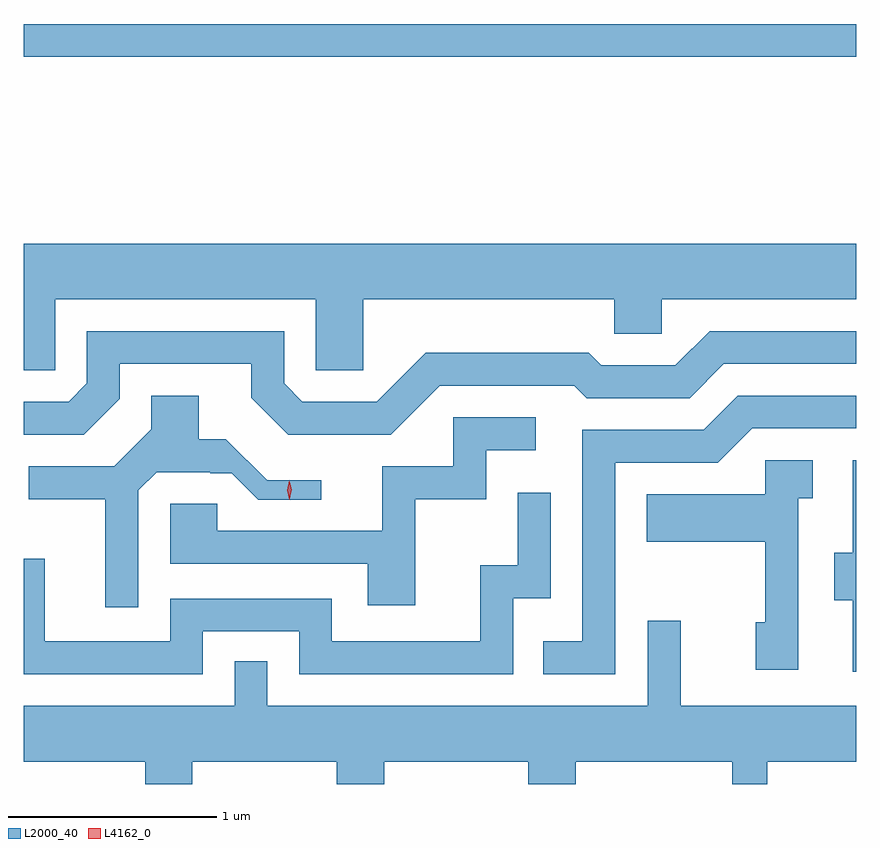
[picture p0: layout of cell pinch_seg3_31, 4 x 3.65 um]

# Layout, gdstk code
import gdstk
lib = gdstk.Library(unit=1e-6, precision=1e-09)
def R(c, l, rs):  # rectangles x0, y0, x1, y1
    for r in rs: c.add(gdstk.rectangle(r[:2], r[2:], *l))
def P(c, l, *ps):  # polygons
    for p in ps: c.add(gdstk.Polygon(p, *l))
L2000_40 = (2000, 40)
L4162_0 = (4162, 0)

pinch_seg3_31 = lib.new_cell('pinch_seg3_31')
R(pinch_seg3_31, L2000_40, [(1746.258,1124.961,1750.258,1125.119)])
P(pinch_seg3_31, L2000_40, [(1746.409,1123.796),(1747.661,1123.796),(1747.661,1123.456),(1747.889,1123.456),(1747.889,1123.796),(1749.096,1123.796),(1749.096,1123.631),(1749.324,1123.631),(1749.324,1123.796),(1750.258,1123.796),(1750.258,1124.064),(1746.258,1124.064),(1746.258,1123.456),(1746.409,1123.456)],
  [(1746.719,1123.319),(1746.719,1123.486),(1747.351,1123.486),(1747.351,1123.324),(1747.529,1123.146),(1748.022,1123.146),(1748.257,1123.381),(1748.904,1123.381),(1748.964,1123.321),(1749.457,1123.321),(1749.622,1123.486),(1750.258,1123.486),(1750.258,1123.644),(1749.554,1123.644),(1749.389,1123.479),(1749.032,1123.479),(1748.972,1123.539),(1748.189,1123.539),(1747.954,1123.304),(1747.597,1123.304),(1747.509,1123.392),(1747.509,1123.644),(1746.561,1123.644),(1746.561,1123.392),(1746.474,1123.304),(1746.258,1123.304),(1746.258,1123.146),(1746.547,1123.146)],
  [(1749.099,1123.011),(1749.592,1123.011),(1749.757,1123.176),(1750.258,1123.176),(1750.258,1123.334),(1749.689,1123.334),(1749.524,1123.169),(1748.941,1123.169),(1748.941,1122.154),(1748.753,1122.154),(1748.753,1121.996),(1749.099,1121.996)],
  [(1746.809,1122.879),(1746.897,1122.966),(1747.155,1122.966),(1747.155,1122.962),(1747.258,1122.962),(1747.386,1122.834),(1747.688,1122.834),(1747.688,1122.926),(1747.428,1122.926),(1747.229,1123.124),(1747.099,1123.124),(1747.099,1123.334),(1746.871,1123.334),(1746.871,1123.172),(1746.694,1122.994),(1746.283,1122.994),(1746.283,1122.836),(1746.651,1122.836),(1746.651,1122.318),(1746.809,1122.318)],
  [(1748.139,1122.836),(1748.479,1122.836),(1748.479,1123.071),(1748.718,1123.071),(1748.718,1123.229),(1748.321,1123.229),(1748.321,1122.994),(1747.981,1122.994),(1747.981,1122.684),(1747.189,1122.684),(1747.189,1122.814),(1746.961,1122.814),(1746.961,1122.526),(1747.911,1122.526),(1747.911,1122.326),(1748.139,1122.326)],
  [(1749.979,1122.841),(1750.049,1122.841),(1750.049,1123.024),(1749.821,1123.024),(1749.821,1122.859),(1749.251,1122.859),(1749.251,1122.631),(1749.821,1122.631),(1749.821,1122.244),(1749.776,1122.244),(1749.776,1122.016),(1749.979,1122.016)],
  [(1750.258,1123.024),(1750.241,1123.024),(1750.241,1122.579),(1750.151,1122.579),(1750.151,1122.351),(1750.241,1122.351),(1750.241,1122.008),(1750.258,1122.008)],
  [(1747.119,1122.201),(1747.581,1122.201),(1747.581,1121.996),(1748.609,1121.996),(1748.609,1122.361),(1748.789,1122.361),(1748.789,1122.868),(1748.631,1122.868),(1748.631,1122.519),(1748.451,1122.519),(1748.451,1122.154),(1747.739,1122.154),(1747.739,1122.359),(1746.961,1122.359),(1746.961,1122.154),(1746.359,1122.154),(1746.359,1122.549),(1746.258,1122.549),(1746.258,1121.996),(1747.119,1121.996)],
  [(1747.761,1121.468),(1747.989,1121.468),(1747.989,1121.576),(1748.681,1121.576),(1748.681,1121.468),(1748.909,1121.468),(1748.909,1121.576),(1749.661,1121.576),(1749.661,1121.468),(1749.829,1121.468),(1749.829,1121.576),(1750.258,1121.576),(1750.258,1121.844),(1749.414,1121.844),(1749.414,1122.253),(1749.256,1122.253),(1749.256,1121.844),(1747.429,1121.844),(1747.429,1122.058),(1747.271,1122.058),(1747.271,1121.844),(1746.258,1121.844),(1746.258,1121.576),(1746.841,1121.576),(1746.841,1121.468),(1747.069,1121.468),(1747.069,1121.576),(1747.761,1121.576)])
P(pinch_seg3_31, L4162_0, [(1747.535,1122.834),(1747.535,1122.835),(1747.525,1122.879),(1747.533,1122.924),(1747.534,1122.925),(1747.534,1122.924),(1747.544,1122.88),(1747.536,1122.835)],
  [(1747.536,1122.844),(1747.536,1122.844),(1747.526,1122.881),(1747.536,1122.918),(1747.536,1122.919),(1747.537,1122.918),(1747.546,1122.881),(1747.537,1122.844)])

lib.write_gds('pinch_seg3_31.gds')
